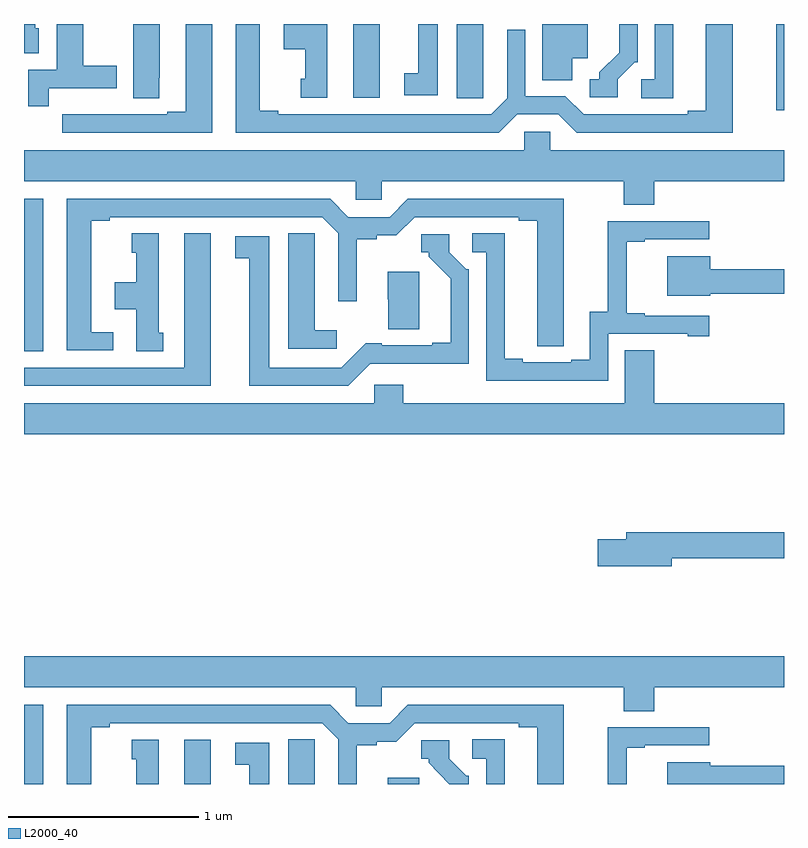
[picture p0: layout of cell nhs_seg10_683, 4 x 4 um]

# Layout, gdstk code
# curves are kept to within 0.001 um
import gdstk
lib = gdstk.Library(unit=1e-6, precision=1e-09)
def R(c, l, rs):  # rectangles x0, y0, x1, y1
    for r in rs: c.add(gdstk.rectangle(r[:2], r[2:], *l))
def P(c, l, *ps):  # polygons
    for p in ps: c.add(gdstk.Polygon(p, *l))
L2000_40 = (2000, 40)

nhs_seg10_683 = lib.new_cell('nhs_seg10_683')
R(nhs_seg10_683, L2000_40, [(145,1274.5,145.102,1274.916), (145.844,1274.5,145.984,1274.734), (146.915,1274.5,147.079,1274.533), (145,1276.777,145.102,1277.58), (148.96,1278.045,149,1278.5), (146.732,1278.111,146.872,1278.5)])
P(nhs_seg10_683, L2000_40, [(148.417,1278.5),(148.32,1278.5),(148.32,1278.21),(148.248,1278.21),(148.248,1278.109),(148.417,1278.109)],
  [(147.886,1278.32),(147.967,1278.32),(147.967,1278.5),(147.728,1278.5),(147.728,1278.205),(147.886,1278.205)],
  [(147.417,1278.217),(147.418,1278.217),(147.418,1278.5),(147.278,1278.5),(147.278,1278.109),(147.417,1278.109)],
  [(145.13,1278.162),(145.489,1278.162),(145.489,1278.279),(145.312,1278.279),(145.312,1278.5),(145.172,1278.5),(145.172,1278.258),(145.022,1278.258),(145.022,1278.066),(145.13,1278.066)],
  [(147.595,1278.024),(147.813,1278.024),(147.909,1277.928),(148.729,1277.928),(148.729,1278.5),(148.589,1278.5),(148.589,1278.044),(148.493,1278.044),(148.493,1278.024),(147.945,1278.024),(147.849,1278.12),(147.639,1278.12),(147.639,1278.469),(147.543,1278.469),(147.543,1278.108),(147.459,1278.024),(146.338,1278.024),(146.338,1278.044),(146.242,1278.044),(146.242,1278.5),(146.114,1278.5),(146.114,1277.928),(147.499,1277.928)],
  [(146.596,1278.5),(146.366,1278.5),(146.366,1278.368),(146.48,1278.368),(146.48,1278.213),(146.456,1278.213),(146.456,1278.111),(146.596,1278.111)],
  [(147.178,1278.5),(147.074,1278.5),(147.074,1278.242),(147,1278.242),(147,1278.126),(147.178,1278.126)],
  [(148.125,1278.21),(148.215,1278.3),(148.23,1278.3),(148.23,1278.5),(148.133,1278.5),(148.133,1278.35),(148.028,1278.245),(148.028,1278.21),(147.978,1278.21),(147.978,1278.114),(148.125,1278.114)],
  [(145.078,1278.477),(145.06,1278.477),(145.06,1278.5),(145,1278.5),(145,1278.347),(145.078,1278.347)],
  [(145.99,1278.5),(145.85,1278.5),(145.85,1278.039),(145.754,1278.039),(145.754,1278.024),(145.478,1278.024),(145.478,1278.025),(145.312,1278.025),(145.312,1278.024),(145.2,1278.024),(145.2,1277.928),(145.99,1277.928)],
  [(145.713,1278.217),(145.714,1278.217),(145.714,1278.5),(145.574,1278.5),(145.574,1278.109),(145.713,1278.109)],
  [(148.316,1277.672),(149,1277.672),(149,1277.836),(147.771,1277.836),(147.771,1277.934),(147.633,1277.934),(147.633,1277.836),(145,1277.836),(145,1277.672),(146.745,1277.672),(146.745,1277.574),(146.883,1277.574),(146.883,1277.672),(148.156,1277.672),(148.156,1277.548),(148.316,1277.548)],
  [(145.471,1276.878),(145.354,1276.878),(145.354,1277.464),(145.45,1277.464),(145.45,1277.484),(146.571,1277.484),(146.655,1277.4),(146.655,1277.04),(146.752,1277.04),(146.752,1277.368),(146.856,1277.368),(146.856,1277.387),(146.96,1277.387),(147.057,1277.484),(147.605,1277.484),(147.605,1277.464),(147.701,1277.464),(147.701,1276.804),(147.84,1276.804),(147.841,1277.58),(147.021,1277.58),(146.925,1277.484),(146.707,1277.484),(146.611,1277.58),(145.226,1277.58),(145.226,1276.782),(145.471,1276.782)],
  [(148.074,1276.869),(148.493,1276.869),(148.493,1276.857),(148.606,1276.857),(148.606,1276.965),(148.267,1276.965),(148.267,1276.978),(148.172,1276.978),(148.172,1277.355),(148.267,1277.355),(148.267,1277.367),(148.606,1277.367),(148.606,1277.463),(148.072,1277.463),(148.072,1276.985),(147.977,1276.985),(147.977,1276.734),(147.881,1276.734),(147.881,1276.719),(147.625,1276.719),(147.625,1276.739),(147.529,1276.739),(147.529,1277.399),(147.36,1277.399),(147.36,1277.298),(147.432,1277.298),(147.432,1276.623),(148.074,1276.623)],
  [(146.647,1276.888),(146.53,1276.888),(146.53,1277.291),(146.529,1277.291),(146.529,1277.399),(146.39,1277.399),(146.39,1276.791),(146.647,1276.791)],
  [(145.984,1277.398),(145.844,1277.398),(145.844,1276.692),(145,1276.692),(145,1276.596),(145.984,1276.596)],
  [(145.732,1276.875),(145.708,1276.875),(145.708,1277.398),(145.568,1277.398),(145.568,1277.295),(145.592,1277.295),(145.592,1277.14),(145.478,1277.14),(145.478,1277),(145.592,1277),(145.592,1276.777),(145.732,1276.777)],
  [(146.823,1276.713),(147.342,1276.712),(147.342,1277.208),(147.327,1277.208),(147.237,1277.298),(147.237,1277.394),(147.09,1277.394),(147.09,1277.298),(147.129,1277.298),(147.129,1277.275),(147.245,1277.158),(147.245,1276.822),(147.149,1276.822),(147.149,1276.809),(146.884,1276.809),(146.884,1276.82),(146.798,1276.82),(146.67,1276.692),(146.29,1276.692),(146.29,1277.382),(146.112,1277.382),(146.112,1277.266),(146.186,1277.266),(146.186,1276.596),(146.706,1276.596)],
  [(148.612,1277.08),(149,1277.08),(149,1277.209),(148.612,1277.209),(148.612,1277.278),(148.385,1277.278),(148.385,1277.069),(148.612,1277.069)],
  [(147.079,1277.197),(146.915,1277.197),(146.915,1277.052),(146.917,1277.052),(146.917,1276.894),(147.079,1276.894)],
  [(149,1276.504),(148.316,1276.504),(148.316,1276.784),(148.163,1276.784),(148.163,1276.504),(146.996,1276.504),(146.996,1276.602),(146.844,1276.602),(146.844,1276.504),(145,1276.504),(145,1276.34),(149,1276.34)],
  [(148.408,1275.688),(149,1275.688),(149,1275.824),(148.169,1275.824),(148.169,1275.788),(148.02,1275.788),(148.02,1275.646),(148.408,1275.646)],
  [(148.316,1275.008),(149,1275.008),(149,1275.172),(145,1275.172),(145,1275.008),(146.745,1275.008),(146.745,1274.91),(146.883,1274.91),(146.883,1275.008),(148.156,1275.008),(148.156,1274.884),(148.316,1274.884)],
  [(145.354,1274.8),(145.45,1274.8),(145.45,1274.82),(146.571,1274.82),(146.655,1274.736),(146.655,1274.5),(146.752,1274.5),(146.752,1274.704),(146.856,1274.704),(146.856,1274.723),(146.96,1274.723),(147.057,1274.82),(147.605,1274.82),(147.605,1274.8),(147.701,1274.8),(147.701,1274.5),(147.841,1274.5),(147.841,1274.916),(147.021,1274.916),(146.925,1274.82),(146.707,1274.82),(146.611,1274.916),(145.226,1274.916),(145.226,1274.5),(145.354,1274.5)],
  [(148.172,1274.691),(148.267,1274.691),(148.267,1274.703),(148.606,1274.703),(148.606,1274.799),(148.072,1274.799),(148.072,1274.5),(148.172,1274.5)],
  [(147.529,1274.735),(147.36,1274.735),(147.36,1274.634),(147.432,1274.634),(147.432,1274.5),(147.529,1274.5)],
  [(146.53,1274.627),(146.529,1274.627),(146.529,1274.735),(146.39,1274.735),(146.39,1274.5),(146.53,1274.5)],
  [(145.708,1274.734),(145.568,1274.734),(145.568,1274.631),(145.592,1274.631),(145.592,1274.5),(145.708,1274.5)],
  [(147.342,1274.544),(147.327,1274.544),(147.237,1274.634),(147.237,1274.73),(147.09,1274.73),(147.09,1274.634),(147.129,1274.634),(147.129,1274.611),(147.239,1274.5),(147.342,1274.5)],
  [(146.29,1274.718),(146.112,1274.718),(146.112,1274.602),(146.186,1274.602),(146.186,1274.5),(146.29,1274.5)],
  [(149,1274.596),(148.612,1274.596),(148.612,1274.614),(148.385,1274.614),(148.385,1274.5),(149,1274.5)])

lib.write_gds('nhs_seg10_683.gds')
